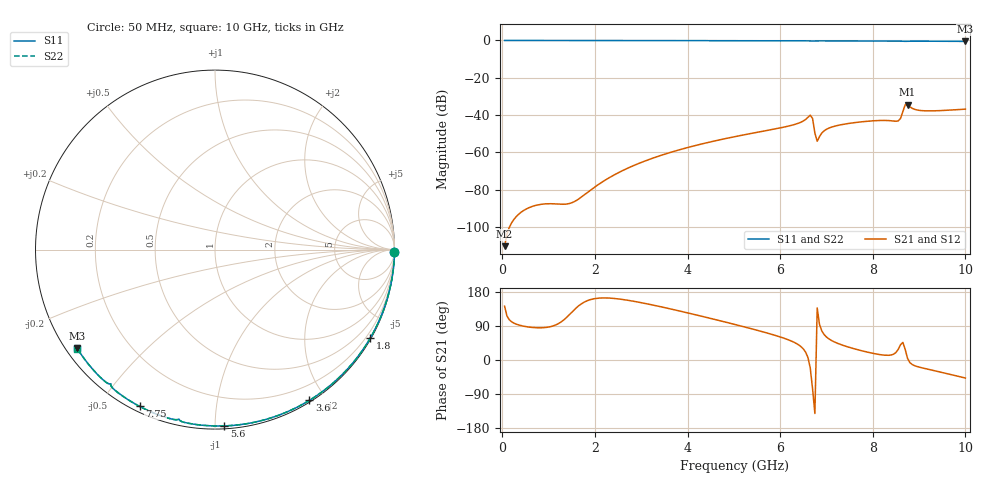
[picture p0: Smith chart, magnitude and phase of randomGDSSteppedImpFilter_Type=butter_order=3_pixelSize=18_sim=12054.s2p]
! freq	dB(S11)	phase(S11)	dB(S12)	phase(S12)
!  dB(S21)	phase(S21)	dB(S22)	phase(S22)
!S-par simulation data
#  GHz  S  DB  R 50
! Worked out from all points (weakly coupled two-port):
!   200 points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, 50 MHz to 10 GHz, reference 50 ohm
!   highest |S21| = -34.43 dB at 8.75 GHz (marker M1); lowest = -110.2 dB at 50 MHz (marker M2)
!   lowest |S11| = -0.5 dB at 10 GHz (marker M3), VSWR 35.14, Z = 1.57 - j16.1 ohm
!   |S11| at or under -10 dB: nowhere
!   |S22| runs from -0.5 to 0.0 dB; largest |S21 - S12| = 0
!   S11 on the Smith chart (normalised r, x): 50 MHz: open; 1.8 GHz: 0.03, -3.77; 3.6 GHz: 0.02, -1.81; 5.6 GHz: 0.02, -1.05; 7.75 GHz: 0.02, -0.63; 10 GHz: 0.03, -0.32
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0.05  -0.00 -0.8  -110.20 141.9  -110.20 141.9  -0.00 -0.8
1.75  -0.04 -28.9  -83.10 151.4  -83.10 151.4  -0.04 -28.9
1.8  -0.04 -29.7  -82.15 154.6  -82.15 154.6  -0.04 -29.7
3.4  -0.07 -54.9  -61.77 141.1  -61.77 141.1  -0.07 -54.9
3.6  -0.08 -57.9  -60.20 135.7  -60.20 135.7  -0.08 -57.9
5.05  -0.12 -79.3  -51.38 92.9  -51.38 92.9  -0.12 -79.2
5.6  -0.14 -87.0  -48.75 75.3  -48.75 75.3  -0.14 -87.0
6.35  -0.18 -97.4  -44.72 43.5  -44.72 43.5  -0.18 -97.3
6.65  -0.25 -101.7  -40.04 -21.1  -40.04 -21.1  -0.25 -101.7
6.7  -0.31 -102.0  -41.76 -76.0  -41.76 -76.0  -0.31 -102.0
6.75  -0.27 -102.3  -49.64 -141.1  -49.64 -141.1  -0.27 -102.3
6.8  -0.24 -103.0  -54.00 137.2  -54.00 137.2  -0.24 -103.0
6.9  -0.23 -104.4  -49.59 76.5  -49.59 76.5  -0.23 -104.4
7.05  -0.23 -106.5  -46.98 55.9  -46.98 55.9  -0.23 -106.5
7.75  -0.27 -115.7  -43.60 24.8  -43.60 24.8  -0.27 -115.7
8.35  -0.32 -123.5  -42.93 12.4  -42.93 12.4  -0.32 -123.5
8.55  -0.35 -126.2  -43.09 28.1  -43.09 28.1  -0.35 -126.2
8.6  -0.37 -126.9  -41.73 40.5  -41.73 40.5  -0.37 -126.9
8.7  -0.47 -127.8  -34.48 28.1  -34.48 28.1  -0.47 -127.8
8.75  -0.43 -128.1  -34.43 4.6  -34.43 4.6  -0.43 -128.1
9.05  -0.39 -132.1  -37.58 -20.3  -37.58 -20.3  -0.39 -132.1
10  -0.49 -144.3  -36.79 -47.6  -36.79 -47.6  -0.49 -144.3
